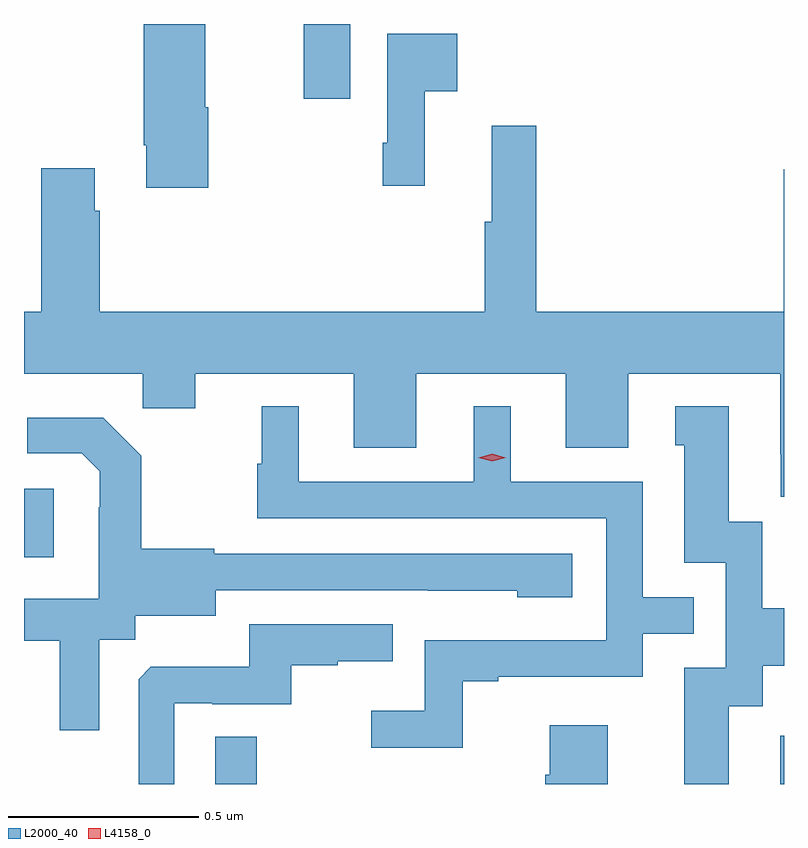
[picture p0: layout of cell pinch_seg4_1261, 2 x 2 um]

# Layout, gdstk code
import gdstk
lib = gdstk.Library(unit=1e-6, precision=1e-09)
def R(c, l, rs):  # rectangles x0, y0, x1, y1
    for r in rs: c.add(gdstk.rectangle(r[:2], r[2:], *l))
def P(c, l, *ps):  # polygons
    for p in ps: c.add(gdstk.Polygon(p, *l))
L2000_40 = (2000, 40)
L4158_0 = (4158, 0)

pinch_seg4_1261 = lib.new_cell('pinch_seg4_1261')
R(pinch_seg4_1261, L2000_40, [(187.488,830.373,187.597,830.498), (188.975,830.373,188.985,830.5), (186.985,830.97,187.063,831.15), (187.721,832.176,187.843,832.373)])
P(pinch_seg4_1261, L2000_40, [(187.47,832.154),(187.462,832.154),(187.462,832.373),(187.3,832.373),(187.3,832.054),(187.307,832.054),(187.307,831.942),(187.47,831.942)],
  [(188.039,832.196),(188.125,832.196),(188.125,832.348),(187.941,832.348),(187.941,832.06),(187.929,832.06),(187.929,831.948),(188.039,831.948)],
  [(188.985,831.991),(188.984,831.991),(188.984,831.616),(188.333,831.616),(188.333,832.105),(188.216,832.105),(188.216,831.852),(188.197,831.852),(188.197,831.616),(187.184,831.616),(187.184,831.881),(187.171,831.881),(187.171,831.994),(187.031,831.994),(187.031,831.616),(186.985,831.616),(186.985,831.452),(187.297,831.452),(187.297,831.362),(187.435,831.362),(187.435,831.452),(187.853,831.452),(187.853,831.258),(188.017,831.258),(188.017,831.452),(188.411,831.452),(188.411,831.258),(188.575,831.258),(188.575,831.452),(188.975,831.452),(188.975,831.241),(188.976,831.241),(188.976,831.129),(188.985,831.129)],
  [(188.839,830.578),(188.929,830.578),(188.929,830.684),(188.985,830.684),(188.985,830.836),(188.928,830.836),(188.928,831.063),(188.839,831.063),(188.839,831.367),(188.699,831.367),(188.699,831.264),(188.723,831.264),(188.723,830.955),(188.832,830.955),(188.832,830.679),(188.723,830.679),(188.723,830.373),(188.839,830.373)],
  [(188.139,830.643),(188.233,830.643),(188.233,830.655),(188.613,830.655),(188.613,830.769),(188.747,830.769),(188.747,830.865),(188.613,830.865),(188.613,831.168),(188.266,831.168),(188.266,831.367),(188.168,831.367),(188.168,831.168),(187.708,831.168),(187.708,831.367),(187.61,831.367),(187.61,831.216),(187.599,831.216),(187.599,831.072),(188.517,831.072),(188.517,830.751),(188.04,830.751),(188.04,830.566),(187.899,830.566),(187.899,830.468),(188.139,830.468)],
  [(187.183,830.752),(187.278,830.752),(187.278,830.816),(187.489,830.816),(187.489,830.883),(188.047,830.883),(188.047,830.882),(188.283,830.882),(188.283,830.864),(188.428,830.864),(188.428,830.979),(187.485,830.979),(187.485,830.992),(187.293,830.992),(187.293,831.237),(187.193,831.337),(186.993,831.337),(186.993,831.243),(187.137,831.243),(187.184,831.196),(187.184,831.101),(187.182,831.101),(187.182,830.86),(186.985,830.86),(186.985,830.75),(187.079,830.75),(187.079,830.514),(187.183,830.514)],
  [(187.38,830.586),(187.48,830.586),(187.48,830.583),(187.688,830.583),(187.688,830.685),(187.811,830.685),(187.811,830.696),(187.955,830.696),(187.955,830.793),(187.578,830.793),(187.578,830.681),(187.319,830.681),(187.287,830.649),(187.287,830.373),(187.38,830.373)],
  [(188.521,830.527),(188.369,830.527),(188.369,830.397),(188.357,830.397),(188.357,830.373),(188.521,830.373)])
P(pinch_seg4_1261, L4158_0, [(188.217,831.222),(188.181,831.232),(188.181,831.232),(188.181,831.232),(188.217,831.242),(188.253,831.232),(188.253,831.232),(188.253,831.232)])

lib.write_gds('pinch_seg4_1261.gds')
